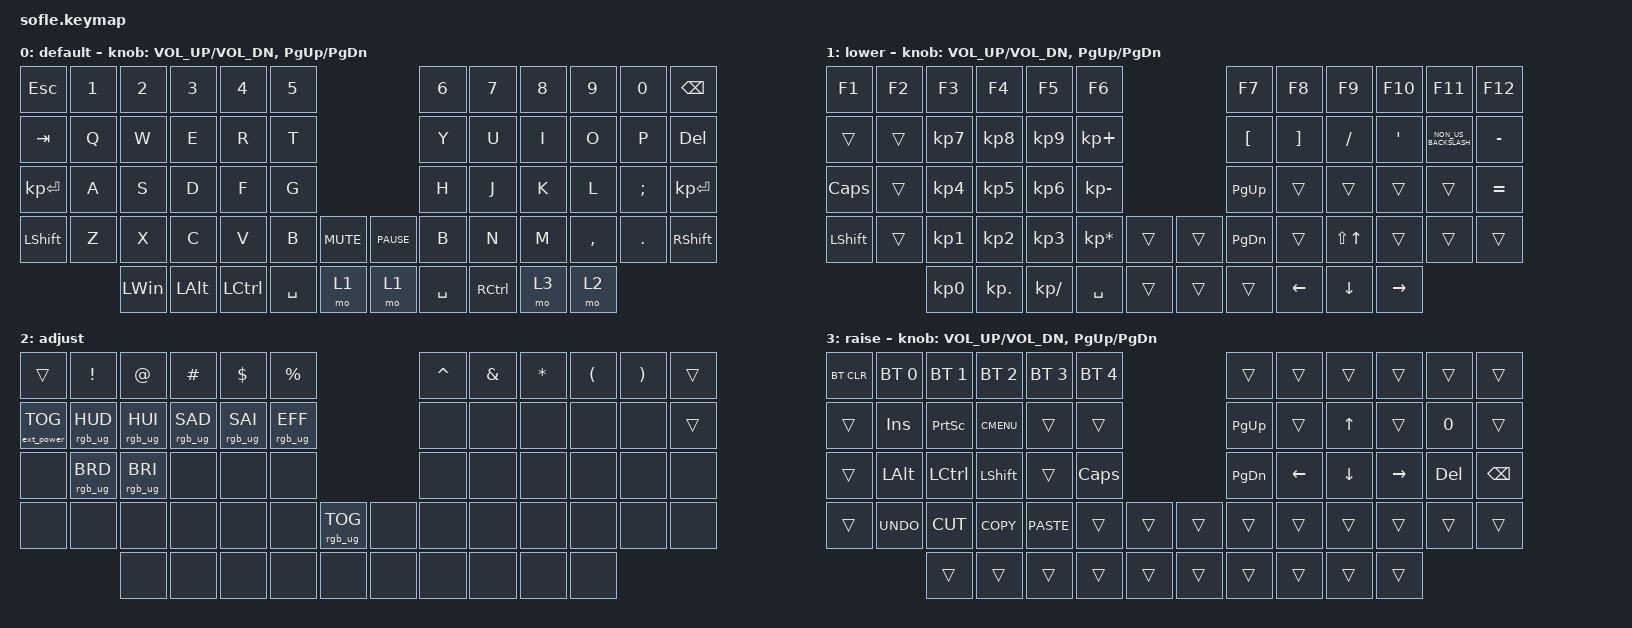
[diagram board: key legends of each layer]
/*
 * Copyright (c) 2020 The ZMK Contributors
 *
 * SPDX-License-Identifier: MIT
 */

#include <behaviors.dtsi>
#include <dt-bindings/zmk/bt.h>
#include <dt-bindings/zmk/ext_power.h>
#include <dt-bindings/zmk/keys.h>
#include <dt-bindings/zmk/rgb.h>

#define BASE 0
#define LOWER 1
#define RAISE 2
#define ADJUST 3

/ {
    // Activate ADJUST layer by pressing raise and lower

    conditional_layers {
        compatible = "zmk,conditional-layers";

        adjust_layer {
            if-layers = <2 4>;
            then-layer = <4>;
        };
    };

    keymap {
        compatible = "zmk,keymap";

        default_layer {
            label = "default";

            // ------------------------------------------------------------------------------------------------------------
            // |   `   |  1  |  2  |  3   |  4   |  5   |                   |  6   |  7    |  8    |  9   |   0   |       |
            // |  ESC  |  Q  |  W  |  E   |  R   |  T   |                   |  Y   |  U    |  I    |  O   |   P   | BKSPC |
            // |  TAB  |  A  |  S  |  D   |  F   |  G   |                   |  H   |  J    |  K    |  L   |   ;   |   '   |
            // | SHIFT |  Z  |  X  |  C   |  V   |  B   |  MUTE  |  |       |  N   |  M    |  ,    |  .   |   /   | SHIFT |
            //               | GUI | ALT  | CTRL | LOWER|  ENTER |  | SPACE | RAISE| CTRL  | ALT   | GUI  |

            bindings = <
&kp ESC         &kp N1  &kp N2        &kp N3    &kp N4     &kp N5                                &kp N6     &kp N7             &kp N8  &kp N9     &kp N0    &kp BACKSPACE
&kp TAB         &kp Q   &kp W         &kp E     &kp R      &kp T                                 &kp Y      &kp U              &kp I   &kp O      &kp P     &kp DELETE
&kp KP_ENTER    &kp A   &kp S         &kp D     &kp F      &kp G                                 &kp H      &kp J              &kp K   &kp L      &kp SEMI  &kp KP_ENTER
&kp LEFT_SHIFT  &kp Z   &kp X         &kp C     &kp V      &kp B      &kp C_MUTE    &kp C_PAUSE  &kp B      &kp N              &kp M   &kp COMMA  &kp DOT   &kp RSHFT
                        &kp LEFT_WIN  &kp LALT  &kp LCTRL  &kp SPACE  &mo 1         &mo 1        &kp SPACE  &kp RIGHT_CONTROL  &mo 3   &mo 2
            >;

            sensor-bindings = <&inc_dec_kp C_VOL_UP C_VOL_DN &inc_dec_kp PG_UP PG_DN>;
        };

        lower_layer {
            label = "lower";

            // TODO: Some binds are waiting for shifted keycode support.
            // ------------------------------------------------------------------------------------------------------------
            // |       |  F1 |  F2 |  F3  |  F4  |  F5  |                   |  F6  |  F7   |  F8   |  F9  |  F10  |  F11  |
            // |   `   |  1  |  2  |  3   |  4   |  5   |                   |  6   |  7    |  8    |  9   |   0   |  F12  |
            // |       |  !  |  @  |  #   |  $   |  %   |                   |  ^   |  &    |  *    |  (   |   )   |   |   |
            // |       |  =  |  -  |  +   |  {   |  }   |        |  |       |  [   |  ]    |  ;    |  :   |   \   |       |
            //               |     |      |      |      |        |  |       |      |       |       |      |

            bindings = <
&kp F1          &kp F2  &kp F3           &kp F4           &kp F5           &kp F6                             &kp F7            &kp F8             &kp F9            &kp F10          &kp F11               &kp F12
&trans          &trans  &kp KP_NUMBER_7  &kp KP_NUMBER_8  &kp KP_NUMBER_9  &kp KP_PLUS                        &kp LEFT_BRACKET  &kp RIGHT_BRACKET  &kp SLASH         &kp SQT          &kp NON_US_BACKSLASH  &kp MINUS
&kp CAPS        &trans  &kp KP_NUMBER_4  &kp KP_NUMBER_5  &kp KP_NUMBER_6  &kp KP_MINUS                       &kp PG_UP         &trans             &trans            &trans           &trans                &kp EQUAL
&kp LEFT_SHIFT  &trans  &kp KP_NUMBER_1  &kp KP_NUMBER_2  &kp KP_NUMBER_3  &kp KP_MULTIPLY  &trans    &trans  &kp PAGE_DOWN     &trans             &kp LS(UP_ARROW)  &trans           &trans                &trans
                        &kp KP_NUMBER_0  &kp KP_DOT       &kp KP_DIVIDE    &kp SPACE        &trans    &trans  &trans            &kp LEFT_ARROW     &kp DOWN_ARROW    &kp RIGHT_ARROW
            >;

            sensor-bindings = <&inc_dec_kp C_VOL_UP C_VOL_DN &inc_dec_kp PG_UP PG_DN>;
        };

        adjust_layer {
            // ----------------------------------------------------------------------------------------------------------------------------
            // | BTCLR  |  BT1    |  BT2    |   BT3   |   BT4   |   BT5   |                  |      |      |       |      |       |       |
            // | EXTPWR | RGB_HUD | RGB_HUI | RGB_SAD | RGB_SAI | RGB_EFF |                  |      |      |       |      |       |       |
            // |        | RGB_BRD | RGB_BRI |         |         |         |                  |      |      |       |      |       |       |
            // |        |         |         |         |         |         | RGB_TOG | |      |      |      |       |      |       |       |
            //                    |         |         |         |         |         | |      |      |      |       |      |

            label = "adjust";
            bindings = <
&trans             &kp EXCLAMATION  &kp AT_SIGN      &kp POUND        &kp DOLLAR       &kp PERCENT                                &kp CARET  &kp AMPERSAND  &kp ASTERISK  &kp LEFT_PARENTHESIS  &kp RIGHT_PARENTHESIS  &trans
&ext_power EP_TOG  &rgb_ug RGB_HUD  &rgb_ug RGB_HUI  &rgb_ug RGB_SAD  &rgb_ug RGB_SAI  &rgb_ug RGB_EFF                            &none      &none          &none         &none                 &none                  &trans
&none              &rgb_ug RGB_BRD  &rgb_ug RGB_BRI  &none            &none            &none                                      &none      &none          &none         &none                 &none                  &none
&none              &none            &none            &none            &none            &none            &rgb_ug RGB_TOG    &none  &none      &none          &none         &none                 &none                  &none
                                    &none            &none            &none            &none            &none              &none  &none      &none          &none         &none
            >;
        };

        raise_layer {
            label = "raise";

            // ------------------------------------------------------------------------------------------------------------
            // | BTCLR | BT1  | BT2  |  BT3  |  BT4  |  BT5 |                |      |      |       |      |       |       |
            // |       | INS  | PSCR | GUI   |       |      |                | PGUP |      |   ^   |      |       |       |
            // |       | ALT  | CTRL | SHIFT |       | CAPS |                | PGDN |   <- |   v   |  ->  |  DEL  | BKSPC |
            // |       | UNDO | CUT  | COPY  | PASTE |      |      |  |      |      |      |       |      |       |       |
            //                |      |       |       |      |      |  |      |      |      |       |      |

            bindings = <
&bt BT_CLR  &bt BT_SEL 0  &bt BT_SEL 1  &bt BT_SEL 2  &bt BT_SEL 3  &bt BT_SEL 4                    &trans     &trans    &trans    &trans     &trans   &trans
&trans      &kp INS       &kp PSCRN     &kp K_CMENU   &trans        &trans                          &kp PG_UP  &trans    &kp UP    &trans     &kp N0   &trans
&trans      &kp LALT      &kp LCTRL     &kp LSHFT     &trans        &kp CLCK                        &kp PG_DN  &kp LEFT  &kp DOWN  &kp RIGHT  &kp DEL  &kp BSPC
&trans      &kp K_UNDO    &kp K_CUT     &kp K_COPY    &kp K_PASTE   &trans        &trans    &trans  &trans     &trans    &trans    &trans     &trans   &trans
                          &trans        &trans        &trans        &trans        &trans    &trans  &trans     &trans    &trans    &trans
            >;

            sensor-bindings = <&inc_dec_kp C_VOL_UP C_VOL_DN &inc_dec_kp PG_UP PG_DN>;
        };
    };
};
